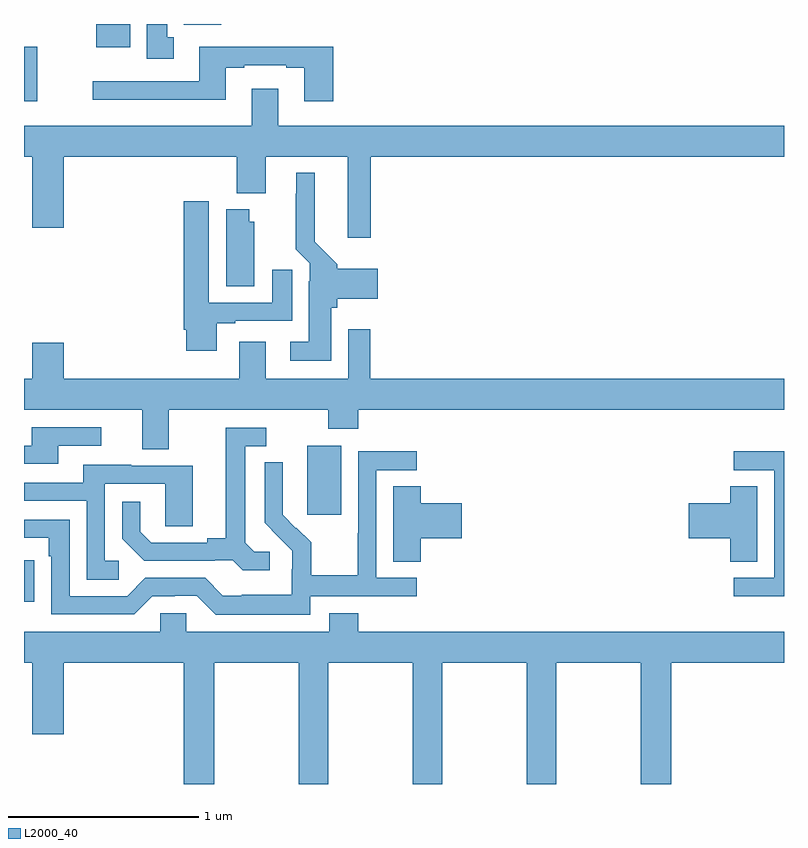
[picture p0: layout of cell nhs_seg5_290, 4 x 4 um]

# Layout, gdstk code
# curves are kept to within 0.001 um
import gdstk
lib = gdstk.Library(unit=1e-6, precision=1e-09)
def R(c, l, rs):  # rectangles x0, y0, x1, y1
    for r in rs: c.add(gdstk.rectangle(r[:2], r[2:], *l))
def P(c, l, *ps):  # polygons
    for p in ps: c.add(gdstk.Polygon(p, *l))
L2000_40 = (2000, 40)

nhs_seg5_290 = lib.new_cell('nhs_seg5_290')
R(nhs_seg5_290, L2000_40, [(129,847.758,129.053,847.976), (130.49,848.217,130.669,848.578), (129,850.392,129.069,850.678), (129.38,850.676,129.559,850.799), (129.842,850.796,130.039,850.799)])
P(nhs_seg5_290, L2000_40, [(129.787,850.73),(129.754,850.73),(129.754,850.799),(129.647,850.799),(129.647,850.617),(129.787,850.617)],
  [(130.628,850.678),(129.923,850.678),(129.923,850.497),(129.363,850.497),(129.363,850.4),(130.063,850.4),(130.063,850.569),(130.159,850.569),(130.159,850.581),(130.379,850.581),(130.379,850.569),(130.475,850.569),(130.475,850.392),(130.628,850.392)],
  [(130.826,850.1),(133,850.1),(133,850.264),(130.339,850.264),(130.339,850.459),(130.199,850.459),(130.199,850.264),(129,850.264),(129,850.1),(129.044,850.1),(129.044,849.726),(129.208,849.726),(129.208,850.1),(130.121,850.1),(130.121,849.908),(130.273,849.908),(130.273,850.1),(130.703,850.1),(130.703,849.675),(130.826,849.675)],
  [(130.618,849.306),(130.649,849.306),(130.649,849.353),(130.861,849.353),(130.861,849.511),(130.649,849.511),(130.649,849.534),(130.531,849.652),(130.531,850.015),(130.433,850.015),(130.433,849.905),(130.429,849.905),(130.429,849.614),(130.503,849.54),(130.503,849.446),(130.499,849.446),(130.499,849.127),(130.401,849.127),(130.401,849.026),(130.618,849.026)],
  [(130.015,849.225),(130.111,849.225),(130.111,849.237),(130.411,849.237),(130.411,849.505),(130.307,849.505),(130.307,849.333),(129.973,849.333),(129.973,849.865),(129.842,849.865),(129.842,849.19),(129.854,849.19),(129.854,849.078),(130.015,849.078)],
  [(130.213,849.759),(130.186,849.759),(130.186,849.823),(130.064,849.823),(130.064,849.418),(130.213,849.418)],
  [(130.707,849.193),(130.707,848.932),(130.273,848.932),(130.273,849.127),(130.133,849.127),(130.133,848.932),(129.208,848.932),(129.208,849.121),(129.044,849.121),(129.044,848.932),(129,848.932),(129,848.768),(129.623,848.768),(129.623,848.56),(129.763,848.56),(129.763,848.768),(130.6,848.768),(130.6,848.669),(130.76,848.669),(130.76,848.768),(133,848.768),(133,848.932),(130.823,848.932),(130.823,849.193)],
  [(129.181,848.58),(129.406,848.58),(129.406,848.676),(129.041,848.676),(129.041,848.58),(129,848.58),(129,848.484),(129.181,848.484)],
  [(130.294,848.022),(130.212,848.022),(130.165,848.069),(130.165,848.577),(130.276,848.577),(130.276,848.673),(130.061,848.673),(130.061,848.093),(129.965,848.093),(129.965,848.07),(129.67,848.07),(129.613,848.127),(129.613,848.284),(129.516,848.284),(129.516,848.09),(129.632,847.974),(130.004,847.974),(130.004,847.977),(130.098,847.977),(130.15,847.925),(130.294,847.925)],
  [(133,848.55),(132.735,848.55),(132.735,848.451),(132.948,848.451),(132.948,847.884),(132.735,847.884),(132.735,847.788),(133,847.788)],
  [(130.506,847.788),(131.068,847.788),(131.068,847.884),(130.854,847.884),(130.854,848.451),(131.068,848.451),(131.068,848.55),(130.758,848.55),(130.758,848.12),(130.756,848.12),(130.756,847.897),(130.511,847.897),(130.511,848.071),(130.434,848.148),(130.431,848.145),(130.361,848.216),(130.362,848.492),(130.266,848.492),(130.266,848.174),(130.412,848.026),(130.412,847.929),(130.41,847.929),(130.41,847.795),(130.147,847.795),(130.147,847.791),(130.047,847.791),(129.954,847.884),(129.639,847.884),(129.543,847.788),(129.24,847.788),(129.24,848.19),(129,848.19),(129,848.094),(129.131,848.094),(129.131,847.997),(129.144,847.997),(129.144,847.692),(129.579,847.692),(129.675,847.788),(129.794,847.788),(129.794,847.791),(129.909,847.791),(130.009,847.691),(130.506,847.691)],
  [(129.499,847.974),(129.426,847.974),(129.426,848.379),(129.744,848.379),(129.744,848.155),(129.889,848.155),(129.889,848.475),(129.565,848.475),(129.565,848.479),(129.311,848.479),(129.311,848.385),(129,848.385),(129,848.289),(129.33,848.289),(129.33,847.873),(129.499,847.873)],
  [(131.087,848.093),(131.305,848.093),(131.305,848.276),(131.087,848.276),(131.087,848.366),(130.943,848.366),(130.943,847.969),(131.087,847.969)],
  [(132.859,848.366),(132.716,848.366),(132.716,848.276),(132.498,848.276),(132.498,848.093),(132.716,848.093),(132.716,847.969),(132.859,847.969)],
  [(130.002,847.436),(130.447,847.436),(130.447,846.799),(130.602,846.799),(130.602,847.436),(131.047,847.436),(131.047,846.799),(131.202,846.799),(131.202,847.436),(131.647,847.436),(131.647,846.799),(131.802,846.799),(131.802,847.436),(132.247,847.436),(132.247,846.799),(132.407,846.799),(132.407,847.436),(133,847.436),(133,847.6),(130.76,847.6),(130.76,847.699),(130.607,847.699),(130.607,847.6),(129.855,847.6),(129.855,847.698),(129.717,847.698),(129.717,847.6),(129,847.6),(129,847.436),(129.044,847.436),(129.044,847.062),(129.208,847.062),(129.208,847.436),(129.842,847.436),(129.842,846.799),(130.002,846.799)])

lib.write_gds('nhs_seg5_290.gds')
